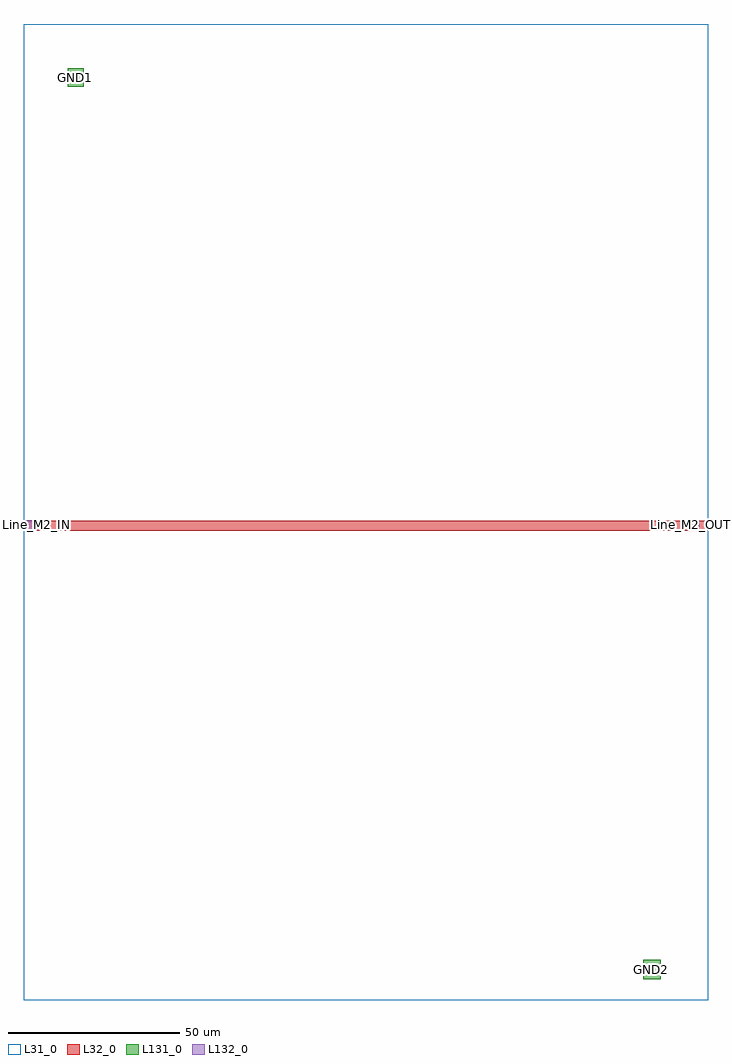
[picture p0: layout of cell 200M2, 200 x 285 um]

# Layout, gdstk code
import gdstk
lib = gdstk.Library(unit=1e-6, precision=1e-09)
def R(c, l, rs):  # rectangles x0, y0, x1, y1
    for r in rs: c.add(gdstk.rectangle(r[:2], r[2:], *l))
L31_0 = (31, 0)
L32_0 = (32, 0)
L131_0 = (131, 0)
L132_0 = (132, 0)

c_200m2 = lib.new_cell('200M2')
R(c_200m2, L31_0, [(-467.645,496.45,-267.645,781.45)])
R(c_200m2, L32_0, [(-467.645,633.45,-267.645,636.45)])
R(c_200m2, L131_0, [(-286.755,502.52,-281.63,508.24), (-454.75,763.14,-450.065,768.58)])
R(c_200m2, L132_0, [(-466.75,633.49,-463.75,636.49), (-273.405,633.56,-270.405,636.56)])
c_200m2.add(gdstk.Label('GND1', (-452.48,765.71), layer=131, texttype=0))
c_200m2.add(gdstk.Label('GND2', (-284.255,505.5), layer=131, texttype=0))
c_200m2.add(gdstk.Label('Line_M2_IN', (-465.045,635.23), layer=132, texttype=0))
c_200m2.add(gdstk.Label('Line_M2_OUT', (-272.4,635.26), layer=132, texttype=0))

lib.write_gds('200M2.gds')
